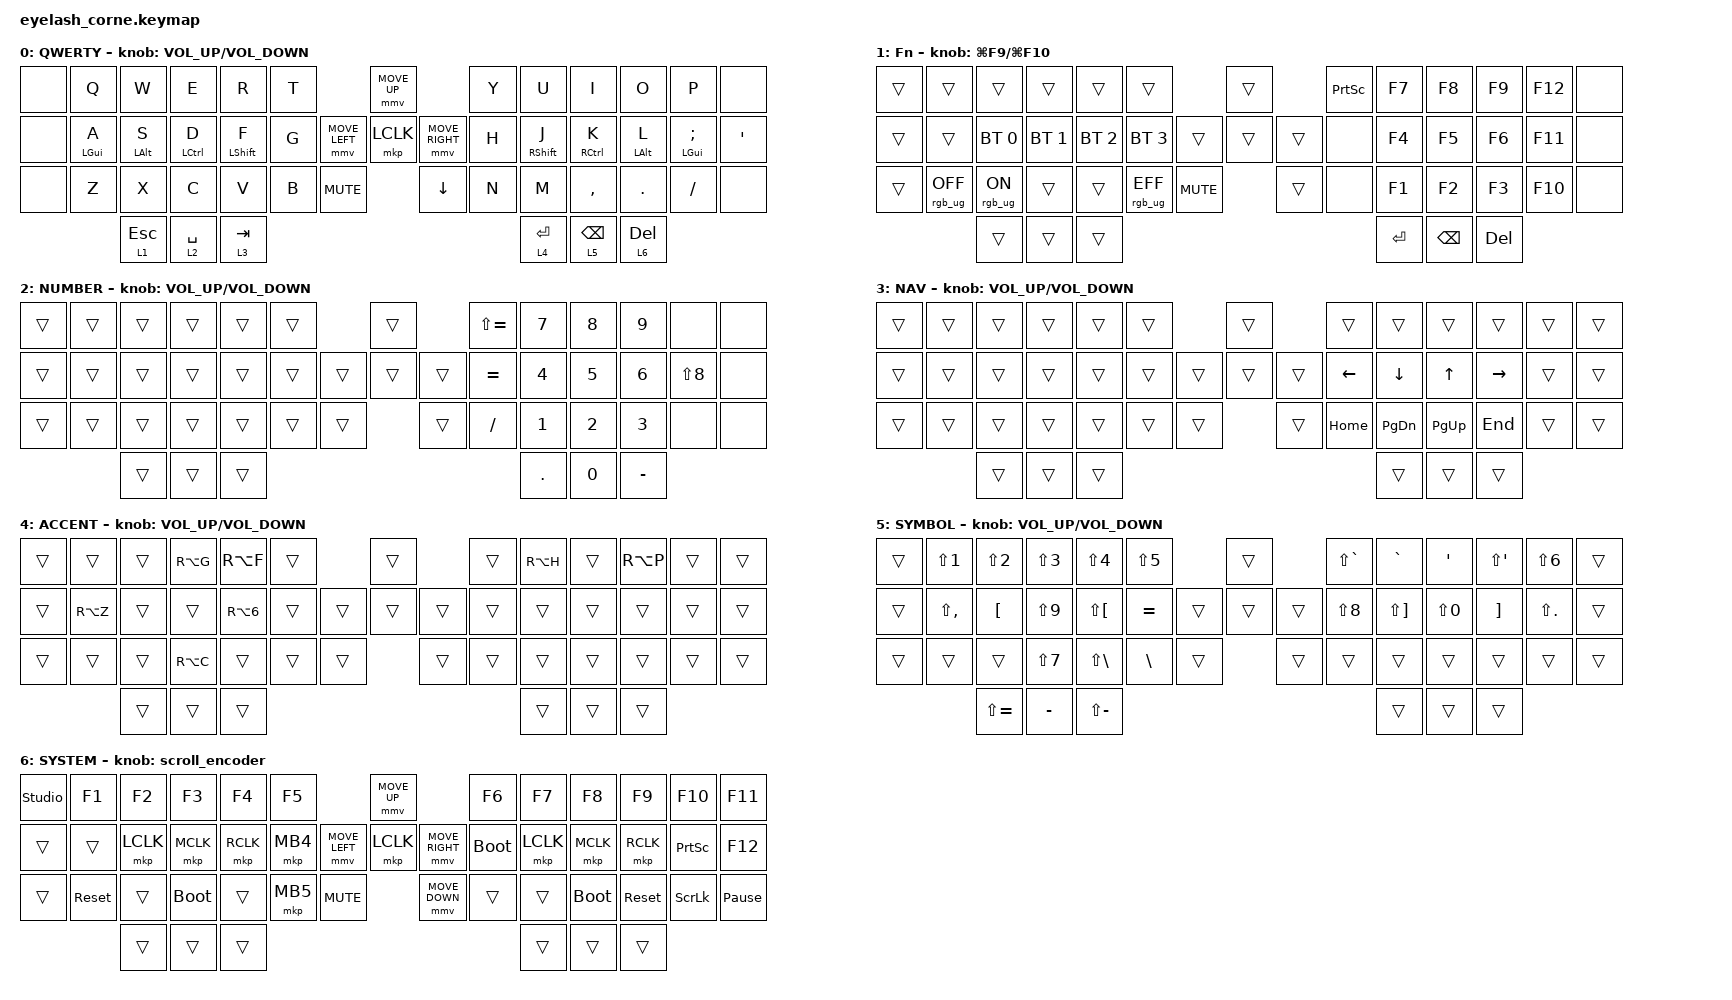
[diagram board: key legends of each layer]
#include <behaviors.dtsi>
#include <dt-bindings/zmk/bt.h>
#include <dt-bindings/zmk/keys.h>
#include <dt-bindings/zmk/mouse.h>
#include <dt-bindings/zmk/outputs.h>
#include <dt-bindings/zmk/rgb.h>

#include <input/processors.dtsi>

/*

   &mmv_input_listener {
       input-processors = <&zip_xy_scaler 2 1>;
   };

   &msc_input_listener {
       input-processors = <&zip_xy_scaler 2 1>;
   };

 */

#define ZMK_MOUSE_DEFAULT_MOVE_VAL 1200  // 600
#define ZMK_MOUSE_DEFAULT_SCRL_VAL 20    // 10

&mt {
    tapping-term-ms = <200>;
    flavor = "tap-preferred";
    quick-tap-ms = <400>;
};

&lt {
    tapping-term-ms = <200>;
    flavor = "tap-preferred";
    quick-tap-ms = <400>;
};

/ {
    behaviors {
        td0: td0 {
            compatible = "zmk,behavior-tap-dance";
            display-name = "Shift/Caps Lock Tap Dance";
            #binding-cells = <0>;
            bindings = <&kp LEFT_SHIFT>, <&kp CAPS>;
        };
    };

    rgb_encoder: rgb_encoder {
        compatible = "zmk,behavior-sensor-rotate";
        #sensor-binding-cells = <0>;
        bindings = <&rgb_ug RGB_BRI>, <&rgb_ug RGB_BRD>;
    };

    scroll_encoder: scroll_encoder {
        compatible = "zmk,behavior-sensor-rotate";
        #sensor-binding-cells = <0>;
        bindings = <&msc SCRL_DOWN>, <&msc SCRL_UP>;
        tap-ms = <30>;
    };

    keymap {
        compatible = "zmk,keymap";

        default_layer {
            display-name = "QWERTY";
            bindings = <
&none    &kp Q       &kp W           &kp E           &kp R         &kp T                              &mmv MOVE_UP                       &kp Y        &kp U         &kp I            &kp O         &kp P          &none
&none    &mt LGUI A  &mt LALT S      &mt LCTRL D     &mt LSHIFT F  &kp G                    &mmv MOVE_LEFT  &mkp LCLK &mmv MOVE_RIGHT    &kp H        &mt RSHIFT J  &mt RCTRL K      &mt LALT L    &mt LGUI SEMI  &kp SQT
&none    &kp Z       &kp X           &kp C           &kp V         &kp B       &kp C_MUTE             &kp DOWN                           &kp N        &kp M         &kp COMMA        &kp DOT       &kp FSLH       &none
                             &lt 1 ESC  &lt 2 SPACE  &lt 3 TAB                                                                                     &lt 4 ENTER  &lt 5 BSPC  &lt 6 DEL
            >;
            sensor-bindings = <&inc_dec_kp C_VOLUME_UP C_VOLUME_DOWN>;
        };

        layer_1 {
            display-name = "Fn";
            bindings = <
&trans  &trans        &trans          &trans        &trans        &trans                                        &trans           &kp PSCRN   &kp F7     &kp F8     &kp F9    &kp F12     &none
&trans  &trans   &bt BT_SEL 0    &bt BT_SEL 1  &bt BT_SEL 2  &bt BT_SEL 3                           &trans  &trans &trans   &none       &kp F4     &kp F5     &kp F6    &kp F11     &none
&trans  &rgb_ug RGB_OFF  &rgb_ug RGB_ON  &trans        &trans        &rgb_ug RGB_EFF &kp C_MUTE                    &trans           &none       &kp F1     &kp F2     &kp F3    &kp F10     &none
                                         &trans        &trans        &trans                                                                            &kp ENTER          &kp BSPC          &kp DEL
            >;
            sensor-bindings = <&inc_dec_kp LG(F9) LG(F10)>;
        };

                layer_2 {
                    display-name = "NUMBER";
                    bindings = <
        &trans  &trans   &trans  &trans   &trans   &trans                               &trans            &kp LS(EQUAL)   &kp N7     &kp N8     &kp N9    &none       &none
        &trans  &trans   &trans  &trans   &trans   &trans                       &trans  &trans &trans     &kp EQUAL       &kp N4     &kp N5     &kp N6    &kp LS(N8)  &none
        &trans  &trans   &trans  &trans   &trans   &trans   &trans                      &trans            &kp SLASH          &kp N1     &kp N2     &kp N3    &none       &none
                 &trans        &trans        &trans                                                             &kp DOT          &kp N0          &kp MINUS
                    >;
                    sensor-bindings = <&inc_dec_kp C_VOLUME_UP C_VOLUME_DOWN>;
                };

        layer_3 {
                    display-name = "NAV";
                    bindings = <
        &trans  &trans   &trans  &trans   &trans   &trans                               &trans            &trans    &trans      &trans      &trans      &trans  &trans
        &trans  &trans   &trans  &trans   &trans   &trans                       &trans  &trans &trans     &kp LEFT  &kp DOWN    &kp UP      &kp RIGHT   &trans  &trans
        &trans  &trans   &trans  &trans   &trans   &trans   &trans                      &trans            &kp HOME  &kp PG_DN   &kp PG_UP   &kp END     &trans   &trans
                 &trans        &trans        &trans                                                             &trans  &trans  &trans
                    >;
                    sensor-bindings = <&inc_dec_kp C_VOLUME_UP C_VOLUME_DOWN>;
                };

       layer_4 {
                    display-name = "ACCENT";
                    bindings = <
        &trans  &trans     &trans &kp RA(G)   &kp RA(F)   &trans                    &trans               &trans  &kp RA(H)  &trans  &kp RA(P)  &trans  &trans
        &trans  &kp RA(Z)  &trans &trans      &kp RA(N6)  &trans            &trans  &trans  &trans       &trans  &trans     &trans  &trans     &trans  &trans
        &trans  &trans  &trans    &kp RA(C)   &trans      &trans  &trans            &trans               &trans  &trans     &trans  &trans     &trans  &trans
                                            &trans     &trans     &trans                                 &trans  &trans  &trans
                    >;
                     sensor-bindings = <&inc_dec_kp C_VOLUME_UP C_VOLUME_DOWN>;
                };

        layer_5 {
            display-name = "SYMBOL";
             bindings = <
        &trans  &kp LS(N1)    &kp LS(N2) &kp LS(N3) &kp LS(N4)   &kp LS(N5)                   &trans               &kp LS(GRAVE)  &kp GRAVE      &kp SQT     &kp LS(SQT)  &kp LS(N6)   &trans
        &trans  &kp LS(COMMA) &kp LBKT   &kp LS(N9) &kp LS(LBKT) &kp EQUAL            &trans  &trans  &trans       &kp LS(N8)     &kp LS(RBKT)   &kp LS(N0)  &kp RBKT     &kp LS(DOT)  &trans
        &trans  &trans        &trans     &kp LS(N7) &kp LS(BSLH) &kp BSLH  &trans             &trans               &trans         &trans         &trans      &trans       &trans       &trans
                                         &kp LS(EQUAL)  &kp MINUS  &kp LS(MINUS)                                   &trans  &trans  &trans
                    >;
                     sensor-bindings = <&inc_dec_kp C_VOLUME_UP C_VOLUME_DOWN>;
        };

        layer_6 {
            display-name = "SYSTEM";
            bindings = <
&studio_unlock   &kp F1      &kp F2      &kp F3       &kp F4     &kp F5                                  &mmv MOVE_UP                     &kp F6       &kp F7     &kp F8       &kp F9      &kp F10          &kp F11
&trans  &trans      &mkp LCLK   &mkp MCLK    &mkp RCLK  &mkp MB4                &mmv MOVE_LEFT  &mkp LCLK       &mmv MOVE_RIGHT  &bootloader  &mkp LCLK  &mkp MCLK    &mkp RCLK   &kp PRINTSCREEN  &kp F12
&trans  &sys_reset  &trans      &bootloader  &trans     &mkp MB5  &kp C_MUTE                    &mmv MOVE_DOWN                   &trans       &trans     &bootloader  &sys_reset  &kp SCROLLLOCK   &kp PAUSE_BREAK
                                &trans      &trans      &trans                                                                   &trans       &trans     &trans
            >;
            sensor-bindings = <&scroll_encoder>;
        };



    };
};
